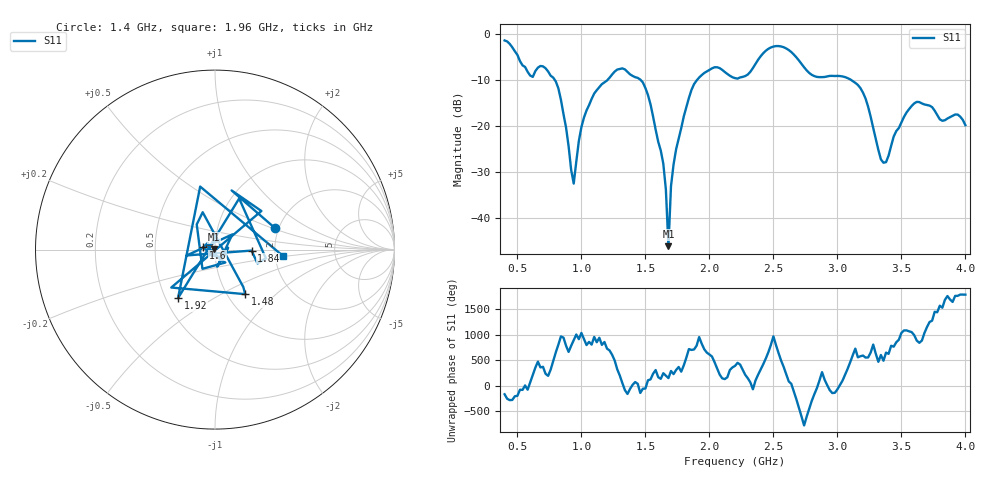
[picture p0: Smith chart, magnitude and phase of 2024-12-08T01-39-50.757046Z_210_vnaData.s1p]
!Created with skrf (http://scikit-rf.org).
# Hz S RI R 50.0
!freq ReS11 ImS11
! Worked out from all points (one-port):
!   181 points, 400 MHz to 4 GHz, reference 50 ohm
!   lowest |S11| = -46.0 dB at 1.68 GHz (marker M1), VSWR 1.01, Z = 49.6 + j0.237 ohm
!   |S11| at or under -10 dB: 794.2 MHz to 1.201 GHz (407.1 MHz wide, 40.8 % of centre); 1.465 GHz to 1.901 GHz (435.6 MHz wide, 25.9 % of centre); 3.111 GHz to end of sweep
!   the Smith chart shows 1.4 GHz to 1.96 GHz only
!   S11 on the Smith chart (normalised r, x): 1.4 GHz: 1.90, +0.53; 1.48 GHz: 1.21, -0.66; 1.6 GHz: 0.87, +0.02; 1.84 GHz: 1.51, -0.02; 1.92 GHz: 0.58, -0.35; 1.96 GHz: 2.21, -0.18
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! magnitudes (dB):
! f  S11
! 400 MHz  -1.3
! 600 MHz  -9.0
! 680 MHz  -6.9
! 780 MHz  -9.4
! 860 MHz  -17.3
! 940 MHz  -32.4
! 980 MHz  -23.2
! 1.04 GHz  -16.5
! 1.3 GHz  -7.5
! 1.4 GHz  -9.0
! 1.48 GHz  -10.5
! 1.6 GHz  -23.3
! 1.66 GHz  -33.7
! 1.68 GHz  -46.0
! 1.7 GHz  -33.0
! 1.76 GHz  -22.6
! 1.84 GHz  -13.8
! 1.92 GHz  -9.4
! 1.96 GHz  -8.4
! 2.2 GHz  -9.5
! 2.48 GHz  -2.9
! 2.66 GHz  -4.4
! 2.82 GHz  -9.1
! 3.1 GHz  -9.8
! 3.22 GHz  -13.9
! 3.36 GHz  -27.9
! 3.56 GHz  -16.3
! 4 GHz  -19.7
